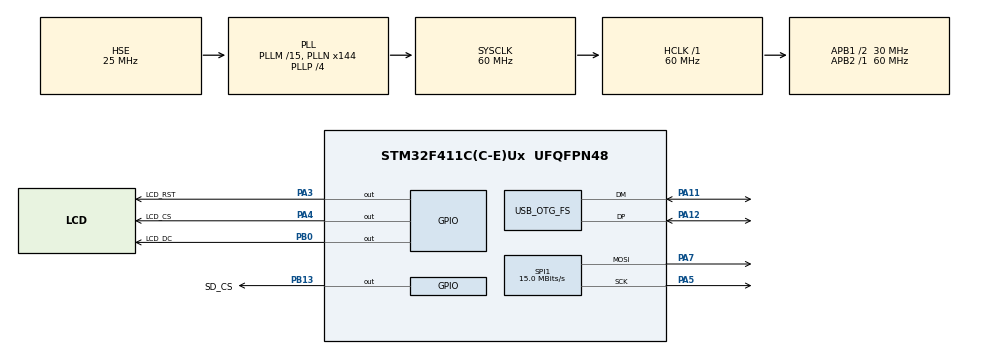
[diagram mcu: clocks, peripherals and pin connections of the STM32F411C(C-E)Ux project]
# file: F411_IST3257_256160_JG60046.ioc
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Dma.Request0=SPI1_TX
Dma.SPI1_TX.0.Direction=DMA_MEMORY_TO_PERIPH
Dma.SPI1_TX.0.FIFOMode=DMA_FIFOMODE_DISABLE
Dma.SPI1_TX.0.Instance=DMA2_Stream2
Dma.SPI1_TX.0.MemDataAlignment=DMA_MDATAALIGN_BYTE
Dma.SPI1_TX.0.MemInc=DMA_MINC_ENABLE
Dma.SPI1_TX.0.Mode=DMA_NORMAL
Dma.SPI1_TX.0.PeriphDataAlignment=DMA_PDATAALIGN_BYTE
Dma.SPI1_TX.0.PeriphInc=DMA_PINC_DISABLE
Dma.SPI1_TX.0.Priority=DMA_PRIORITY_LOW
Mcu.Family=STM32F4
Mcu.Name=STM32F411C(C-E)Ux
Mcu.Package=UFQFPN48
NVIC.DMA2_Stream2_IRQn=true\:0\:0\:false\:false\:true\:false\:true\:true
NVIC.OTG_FS_IRQn=true\:0\:0\:false\:false\:true\:false\:true\:true
NVIC.PriorityGroup=NVIC_PRIORITYGROUP_4
PA11.Mode=Device_Only
PA11.Signal=USB_OTG_FS_DM
PA12.Mode=Device_Only
PA12.Signal=USB_OTG_FS_DP
PA13.Mode=Serial_Wire
PA13.Signal=SYS_JTMS-SWDIO
PA14.Mode=Serial_Wire
PA14.Signal=SYS_JTCK-SWCLK
PA3.GPIO_Label=LCD_RST
PA3.Signal=GPIO_Output
PA4.GPIO_Label=LCD_CS
PA4.Signal=GPIO_Output
PA5.Mode=TX_Only_Simplex_Unidirect_Master
PA5.Signal=SPI1_SCK
PA7.Mode=TX_Only_Simplex_Unidirect_Master
PA7.Signal=SPI1_MOSI
PB0.GPIO_Label=LCD_DC
PB0.Signal=GPIO_Output
PB13.GPIO_Label=SD_CS
PB13.Signal=GPIO_Output
PH0\ -\ OSC_IN.Mode=HSE-External-Oscillator
PH0\ -\ OSC_IN.Signal=RCC_OSC_IN
PH1\ -\ OSC_OUT.Mode=HSE-External-Oscillator
PH1\ -\ OSC_OUT.Signal=RCC_OSC_OUT
ProjectManager.HeapSize=0x200
ProjectManager.StackSize=0x3000
ProjectManager.TargetToolchain=Makefile
RCC.48MHZClocksFreq_Value=48000000
RCC.AHBFreq_Value=60000000
RCC.APB1CLKDivider=RCC_HCLK_DIV2
RCC.APB1Freq_Value=30000000
RCC.APB1TimFreq_Value=60000000
RCC.APB2Freq_Value=60000000
RCC.APB2TimFreq_Value=60000000
RCC.CortexFreq_Value=60000000
RCC.EnbaleCSS=true
RCC.HCLKFreq_Value=60000000
RCC.HSE_VALUE=25000000
RCC.HSI_VALUE=16000000
RCC.LSE_VALUE=32768
RCC.PLLM=15
RCC.PLLN=144
RCC.PLLP=RCC_PLLP_DIV4
RCC.PLLQ=5
RCC.SYSCLKFreq_VALUE=60000000
RCC.SYSCLKSource=RCC_SYSCLKSOURCE_PLLCLK
RCC.VCOOutputFreq_Value=240000000
SPI1.BaudRatePrescaler=SPI_BAUDRATEPRESCALER_4
SPI1.CalculateBaudRate=15.0 MBits/s
SPI1.DataSize=SPI_DATASIZE_8BIT
SPI1.Direction=SPI_DIRECTION_2LINES
SPI1.Mode=SPI_MODE_MASTER
SPI1.VirtualType=VM_MASTER
USB_DEVICE.CLASS_NAME_FS=CDC
USB_DEVICE.VirtualMode=Cdc
USB_DEVICE.VirtualModeFS=Cdc_FS
USB_OTG_FS.VirtualMode=Device_Only
VP_USB_DEVICE_VS_USB_DEVICE_CDC_FS.Mode=CDC_FS
board=custom

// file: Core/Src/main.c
/* USER CODE BEGIN Header */
/**
  ******************************************************************************
  * @file           : main.c
  * @brief          : Main program body for USB Video Player
  ******************************************************************************
  */
/* USER CODE END Header */
#include "main.h"
#include "dma.h"
#include "spi.h"
#include "usb_device.h"
#include "gpio.h"

/* USER CODE BEGIN Includes */
#include "usbd_cdc_if.h"
#include <stdarg.h>
#include <string.h> // For memset
/* USER CODE END Includes */

/* USER CODE BEGIN PTD */
// --- 视频播放参数和缓冲区定义 ---
#define IST3257_WIDTH       256
#define IST3257_HEIGHT      162
#define FRAME_SIZE_BYTES    (IST3257_WIDTH * IST3257_HEIGHT / 2)
#define IMAGE_SIZE_BYTES    (256 * 160 / 2) // PC发送的帧大小

// 用于显示的双缓冲区
static uint8_t framebuffer1[FRAME_SIZE_BYTES];
static uint8_t framebuffer2[FRAME_SIZE_BYTES];

// 指向当前“后台”缓冲区的指针（CPU/USB正在写入的缓冲区）
static uint8_t *back_buffer_ptr;
// 指向当前“前台”缓冲区的指针（DMA正在发送的缓冲区）
static uint8_t *front_buffer_ptr;

// USB接收状态
volatile uint8_t new_frame_received_flag = 0;

/* USER CODE END PTD */

void SystemClock_Config(void);
/* USER CODE BEGIN PFP */
void SdCmd(uint16_t Command);
void SdData(uint16_t DData);
void IST3257_UpdateScreen_DMA(uint8_t* buffer_to_send);
/* USER CODE END PFP */

/* USER CODE BEGIN 0 */

volatile uint8_t spi_dma_busy = 0;

void HAL_SPI_TxCpltCallback(SPI_HandleTypeDef *hspi)
{
    if (hspi->Instance == SPI1)
    {
        HAL_GPIO_WritePin(LCD_CS_GPIO_Port, LCD_CS_Pin, GPIO_PIN_SET);
        spi_dma_busy = 0;
    }
}

#define ACK_CHAR 'A' // Acknowledge character
#define NACK_CHAR 'N' // Not Acknowledge character
// --- USB CDC 接收处理 ---
// 这个回调函数在 usbd_cdc_if.c 中被 __weak 定义
// 我们在这里提供强定义来接管USB数据接收
extern USBD_HandleTypeDef hUsbDeviceFS;
static uint32_t received_count = 0;

void CDC_ReceiveCallBack(uint8_t* Buf, uint32_t Len)
{
    // 将接收到的数据包拷贝到后台缓冲区的正确位置
    if ((received_count + Len) <= IMAGE_SIZE_BYTES)
    {
        memcpy(back_buffer_ptr + received_count, Buf, Len);
        received_count += Len;
    }
    // 如果收到的数据包会导致溢出，则忽略这个包（或者进行其他错误处理）
    // 这可以增加系统的鲁棒性
    else {
        // 可选：在这里处理错误，例如重置接收计数器
        // received_count = 0;
    }

    // 检查是否已接收到一帧完整的数据
    if (received_count >= IMAGE_SIZE_BYTES)
    {
        // 设置新帧接收完成标志
        new_frame_received_flag = 1;

        // 复位计数器，为下一帧做准备
        received_count = 0;

        // 【已移除】不再发送ACK，以解决上位机卡死问题
        // char ack = ACK_CHAR;
        // CDC_Transmit_FS((uint8_t*)&ack, 1);
    }

    // 【已移除】不再需要手动调用，系统会在 usbd_cdc_if.c 中自动调用
    // USBD_CDC_ReceivePacket(&hUsbDeviceFS);
}
// --- LCD底层驱动函数 (8位SPI) ---
void SdCmd(uint16_t Command)
{
    uint8_t cmd_buffer[2];
    cmd_buffer[0] = (Command >> 8) & 0xFF; // High Byte
    cmd_buffer[1] = Command & 0xFF;        // Low Byte

    HAL_GPIO_WritePin(LCD_DC_GPIO_Port, LCD_DC_Pin, GPIO_PIN_RESET);
    HAL_GPIO_WritePin(LCD_CS_GPIO_Port, LCD_CS_Pin, GPIO_PIN_RESET);
    HAL_SPI_Transmit(&hspi1, cmd_buffer, 2, 100);
    HAL_GPIO_WritePin(LCD_CS_GPIO_Port, LCD_CS_Pin, GPIO_PIN_SET);
}

void SdData(uint16_t DData)
{
    uint8_t data_buffer[2];
    data_buffer[0] = (DData >> 8) & 0xFF; // High Byte
    data_buffer[1] = DData & 0xFF;        // Low Byte

    HAL_GPIO_WritePin(LCD_DC_GPIO_Port, LCD_DC_Pin, GPIO_PIN_SET);
    HAL_GPIO_WritePin(LCD_CS_GPIO_Port, LCD_CS_Pin, GPIO_PIN_RESET);
    HAL_SPI_Transmit(&hspi1, data_buffer, 2, 100);
    HAL_GPIO_WritePin(LCD_CS_GPIO_Port, LCD_CS_Pin, GPIO_PIN_SET);
}

void IST3257_UpdateScreen_DMA(uint8_t* buffer_to_send)
{
    while (spi_dma_busy) { __NOP(); }
    spi_dma_busy = 1;
    SdCmd(0x0008); SdData(0x0000);
    SdCmd(0x0009);
    HAL_GPIO_WritePin(LCD_DC_GPIO_Port, LCD_DC_Pin, GPIO_PIN_SET);
    HAL_GPIO_WritePin(LCD_CS_GPIO_Port, LCD_CS_Pin, GPIO_PIN_RESET);
    HAL_SPI_Transmit_DMA(&hspi1, buffer_to_send, FRAME_SIZE_BYTES);
}

// 保留您之前的阻塞式刷新函数
void IST3257_UpdateScreen(void)
{
    SdCmd(0x0008);
    SdData(0x0000);
    SdCmd(0x0009);
    HAL_GPIO_WritePin(LCD_DC_GPIO_Port, LCD_DC_Pin, GPIO_PIN_SET);
    HAL_GPIO_WritePin(LCD_CS_GPIO_Port, LCD_CS_Pin, GPIO_PIN_RESET);
    HAL_SPI_Transmit(&hspi1, back_buffer_ptr, FRAME_SIZE_BYTES, 1000);
    HAL_GPIO_WritePin(LCD_CS_GPIO_Port, LCD_CS_Pin, GPIO_PIN_SET);
}
// --- 保留您之前的函数 (修正了绘图目标) ---
void IST3257_DrawPixel(uint16_t x, uint16_t y, uint8_t level) {
    if (x >= IST3257_WIDTH || y >= IST3257_HEIGHT) {
        return;
    }
    level &= 0x0F;
    // 修正：让绘图函数总是画在 back_buffer_ptr 指向的缓冲区
    uint8_t *p = (uint8_t*)back_buffer_ptr + (y * (IST3257_WIDTH / 2)) + (x / 2);

    if (x % 2 == 0) {
        *p = (*p & 0x0F) | (level << 4);
    } else {
        *p = (*p & 0xF0) | level;
    }
}
/* USER CODE END 0 */

int main(void)
{

  /* MCU Configuration--------------------------------------------------------*/

  /* Reset of all peripherals, Initializes the Flash interface and the Systick. */
  HAL_Init();

  /* Configure the system clock */
  SystemClock_Config();

  /* Initialize all configured peripherals */
  MX_GPIO_Init();
  MX_DMA_Init();
  MX_SPI1_Init();
  MX_USB_DEVICE_Init();
  /* USER CODE BEGIN 2 */
  HAL_Delay(1000); // 等待USB枚举完成

  // --- LCD 初始化 ---

  // --- 第一步：硬件复位 ---
  HAL_GPIO_WritePin(LCD_RST_GPIO_Port, LCD_RST_Pin, GPIO_PIN_RESET);
  HAL_Delay(20); // 手册要求复位低电平至少保持10ms [cite: 1324]
  HAL_GPIO_WritePin(LCD_RST_GPIO_Port, LCD_RST_Pin, GPIO_PIN_SET);
  HAL_Delay(20); // 手册要求复位后至少等待10ms再发送指令 [cite: 1327]

  // --- 第二步：开启振荡器与基础应用设置 ---

  // 必须先开启振荡器，为后续指令提供时钟
  SdCmd(0x0000);    // Index: R00h, Start Oscillator
  SdData(0x0001);   // Data:  OSC bit = 1, 启动振荡器 [cite: 1018]
  HAL_Delay(5);     // 短暂延时等待振荡器稳定

  // 设置驱动模式 (例如: 1/162 Duty, 16G模式)
  SdCmd(0x0001);    // Index: R01h, Driver control
  SdData(0x0000);   // Data:  NL=00 -> Duty 1/162, SHL=0, SGS=0 [cite: 1037]

  SdCmd(0x0023);    // Index: R23h, Display Mode Control
  SdData(0x0003);   // Data:  DSPM=100

  SdCmd(0x0028);      // Index: R28h, Frame Rate Control
  SdData(0x0088);
  // 设置电源参数 (Bias 和 Booster)
  SdCmd(0x0004);    // Index: R04h, Power control (2)
  SdData(0x0065);   // Data:  Bias=1/12 (110), Booster=x7 (101) [cite: 1075, 1077]
                    //        0b... 0 010 0 100

  //方案B1: N-Line INV?
  SdCmd(0x0002);
  SdData(0x0100 + 20);//20-Line 反转
  //SdData(0x0000);//Frame Inv
  // 设置对比度
  SdCmd(0x0005);    // Index: R05h, Contrast control
  SdData(0x0061);   // Data:  设置一个中间对比度值 (61/127)

  // --- 第三步：分三步开启内部电源 (最关键的修正) ---

  // 3a. 开启 VOUT1 和 VM
  SdCmd(0x0003);    // Index: R03h, Power control (1)
  SdData(0x0940);   // Data: VSON=1, DC1=1, VMEN=1
  HAL_Delay(15);    // 等待电压稳定，手册要求至少10ms [cite: 1335]

  // 3b. 开启 VG 和 VOUT2
  SdCmd(0x0003);    // Index: R03h, Power control (1)
  SdData(0x0B60);   // Data: 在上一步基础上，增加 VGEN=1, DC2=1
  HAL_Delay(15);    // 等待电压稳定，手册要求至少10ms [cite: 1339]

  // 3c. 开启 VO 和 XV0
  SdCmd(0x0003);    // Index: R03h, Power control (1)
  SdData(0x0F70);   // Data: 在上一步基础上，增加 VOEN=1, DC3=1
  HAL_Delay(15);    // 等待电压稳定，手册要求至少10ms [cite: 1343]

  // --- 第四步：开启显示 ---
  SdCmd(0x0007);    // Index: R07h, Display control
  SdData(0x0001);   // Data:  D=1, 开启显示驱动输出 [cite: 1128
  /* USER CODE END 2 */
  /* Infinite loop */
  /* USER CODE BEGIN WHILE */

  // --- USB VCP 视频播放循环 ---

  // 初始化缓冲区指针
  front_buffer_ptr = framebuffer1;
  back_buffer_ptr = framebuffer2;
  memset(front_buffer_ptr, 0, FRAME_SIZE_BYTES);
  memset(back_buffer_ptr, 0, FRAME_SIZE_BYTES);
  // 首次启动USB接收
  for(int i = 32; i < 256-32; i++)
    for(int j = 32; j < 160-32; j++)
      IST3257_DrawPixel(i, j, (i/2) % 16);
  IST3257_UpdateScreen();
  USBD_CDC_ReceivePacket(&hUsbDeviceFS);

  while (1)
  {
    /* USER CODE END WHILE */

    /* USER CODE BEGIN 3 */

    // 检查是否有新的一帧数据被完整接收
    if (new_frame_received_flag)
    {
        // 清除标志
        new_frame_received_flag = 0;

        // 等待上一帧的DMA传输完成
        while (spi_dma_busy) {
            __NOP();
        }

        // 交换前后缓冲区指针
        uint8_t *temp_ptr = front_buffer_ptr;
        front_buffer_ptr = back_buffer_ptr;
        back_buffer_ptr = temp_ptr;

        // 启动DMA，开始显示新的“前台”缓冲区
        IST3257_UpdateScreen_DMA(front_buffer_ptr);

        // 清空新的后台缓冲区，为下一次USB接收做准备
        // (因为视频帧小于屏幕，所以需要清空以避免底部有残留)
    }
  }
  /* USER CODE END 3 */
}

void SystemClock_Config(void)
{
  RCC_OscInitTypeDef RCC_OscInitStruct = {0};
  RCC_ClkInitTypeDef RCC_ClkInitStruct = {0};

  /** Configure the main internal regulator output voltage
  */
  __HAL_RCC_PWR_CLK_ENABLE();
  __HAL_PWR_VOLTAGESCALING_CONFIG(PWR_REGULATOR_VOLTAGE_SCALE1);

  /** Initializes the RCC Oscillators according to the specified parameters
  * in the RCC_OscInitTypeDef structure.
  */
  RCC_OscInitStruct.OscillatorType = RCC_OSCILLATORTYPE_HSE;
  RCC_OscInitStruct.HSEState = RCC_HSE_ON;
  RCC_OscInitStruct.PLL.PLLState = RCC_PLL_ON;
  RCC_OscInitStruct.PLL.PLLSource = RCC_PLLSOURCE_HSE;
  RCC_OscInitStruct.PLL.PLLM = 15;
  RCC_OscInitStruct.PLL.PLLN = 144;
  RCC_OscInitStruct.PLL.PLLP = RCC_PLLP_DIV4;
  RCC_OscInitStruct.PLL.PLLQ = 5;
  if (HAL_RCC_OscConfig(&RCC_OscInitStruct) != HAL_OK)
  {
    Error_Handler();
  }

  /** Initializes the CPU, AHB and APB buses clocks
  */
  RCC_ClkInitStruct.ClockType = RCC_CLOCKTYPE_HCLK|RCC_CLOCKTYPE_SYSCLK
                              |RCC_CLOCKTYPE_PCLK1|RCC_CLOCKTYPE_PCLK2;
  RCC_ClkInitStruct.SYSCLKSource = RCC_SYSCLKSOURCE_PLLCLK;
  RCC_ClkInitStruct.AHBCLKDivider = RCC_SYSCLK_DIV1;
  RCC_ClkInitStruct.APB1CLKDivider = RCC_HCLK_DIV2;
  RCC_ClkInitStruct.APB2CLKDivider = RCC_HCLK_DIV1;

  if (HAL_RCC_ClockConfig(&RCC_ClkInitStruct, FLASH_LATENCY_1) != HAL_OK)
  {
    Error_Handler();
  }

  /** Enables the Clock Security System
  */
  HAL_RCC_EnableCSS();
}

void Error_Handler(void)
{
  __disable_irq();
  while (1)
  {
  }
}
